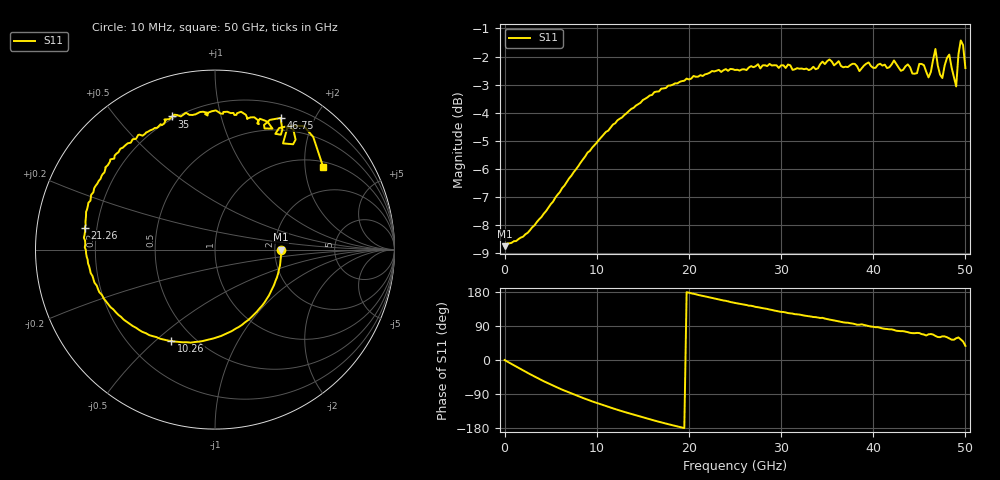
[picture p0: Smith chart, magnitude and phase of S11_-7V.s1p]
!Agilent Technologies,N5227A,US51270434,A.10.00.00
!Agilent N5227A: A.10.00.00
!Date: Thursday, February 26, 2026 12:47:29
!Correction: S11(Full 1 Port(1))
!S1P File: Measurement: S11:
# Hz S  dB  R 50
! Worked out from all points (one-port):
!   201 points, 10 MHz to 50 GHz, reference 50 ohm
!   lowest |S11| = -8.7 dB at 10 MHz (marker M1), VSWR 2.15, Z = 108 - j0.256 ohm
!   |S11| at or under -10 dB: nowhere
!   S11 on the Smith chart (normalised r, x): 10 MHz: 2.15, -0.01; 10.26 GHz: 0.38, -0.57; 21.26 GHz: 0.15, +0.08; 35 GHz: 0.19, +0.71; 46.75 GHz: 0.35, +1.56; 50 GHz: 1.16, +2.49
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1e7  -8.75 -0.2
3.0094e9  -8.08 -40.4
6.25875e9  -6.68 -78.4
1.025795e10  -4.96 -115.5
1.25075e10  -4.21 -133.4
1.625675e10  -3.27 -159.8
1.875625e10  -2.96 -175.4
2.125575e10  -2.66 170.4
2.5005e10  -2.48 150.7
2.875425e10  -2.26 133.2
3.125375e10  -2.48 122.5
3.5003e10  -2.16 107.9
3.75025e10  -2.31 97.1
4.375125e10  -2.28 73.5
4.475105e10  -2.59 71.5
4.5001e10  -2.26 71.1
4.575085e10  -2.54 64.6
4.625075e10  -2.55 68.5
4.675065e10  -1.73 63.5
4.725055e10  -2.64 60.2
4.75005e10  -2.76 62.5
4.80004e10  -2.05 60.2
4.875025e10  -2.73 53.4
4.90002e10  -3.07 57.4
4.925015e10  -1.91 59.5
4.95001e10  -1.43 54.2
4.975005e10  -1.59 48.9
5e10  -2.41 37.2
